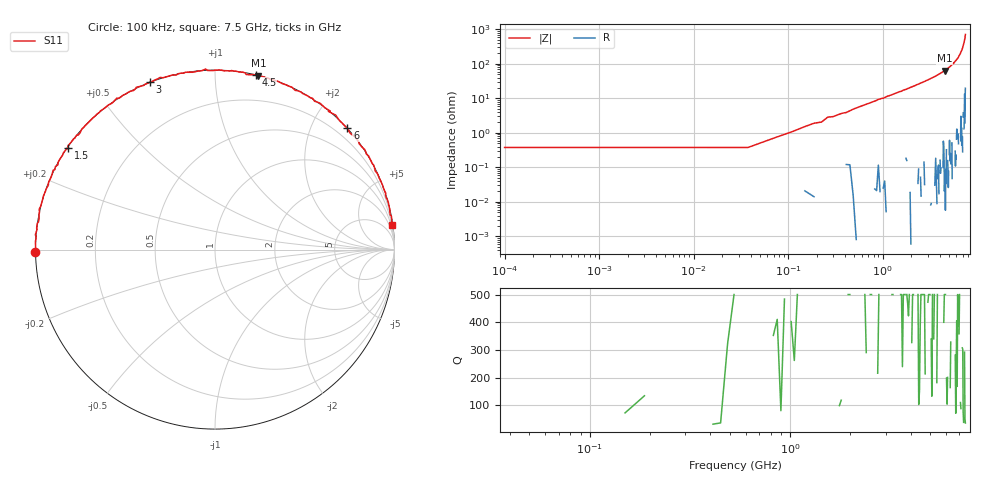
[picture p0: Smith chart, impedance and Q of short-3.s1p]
# Hz S DB R 50.000000
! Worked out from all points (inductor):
!   201 points, 100 kHz to 7.5 GHz, reference 50 ohm
!   read as one part to ground: L = 1.59 nH near 37.6 MHz
!   highest Q = 1.57e+03 at 4.537 GHz (marker M1), where L = 2.25 nH
!   S11 on the Smith chart (normalised r, x): 100 kHz: -0.00, -0.01; 1.5 GHz: 0.00, +0.31; 3 GHz: -0.00, +0.69; 4.5 GHz: 0.00, +1.26; 6 GHz: -0.00, +2.57; 7.5 GHz: 0, +14
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100000  0.01 -179.1
2.62593e8  -0.02 173.5
4.12589e8  -0.04 171.1
5.62585e8  0.05 167.0
9.37575e8  -0.01 158.3
1.50006e9  -0.03 145.3
1.575058e9  0.02 144.5
1.87505e9  -0.01 137.0
2.475034e9  0.05 123.0
2.812525e9  0.05 115.8
3.00002e9  0.00 111.2
3.150016e9  0.06 107.6
3.75e9  -0.00 94.1
4.162489e9  0.01 84.7
4.49998e9  -0.00 76.8
4.537479e9  -0.01 76.0
4.687475e9  -0.00 72.5
4.912469e9  -0.01 67.0
5.512453e9  0.03 54.2
5.587451e9  -0.00 52.3
5.62495e9  0.04 50.2
5.662449e9  -0.03 50.6
5.737447e9  0.06 48.2
5.99994e9  0.00 42.5
6.562425e9  0.00 29.6
6.899916e9  -0.01 22.6
7.049912e9  0.02 18.4
7.4999e9  -0.03 8.1
